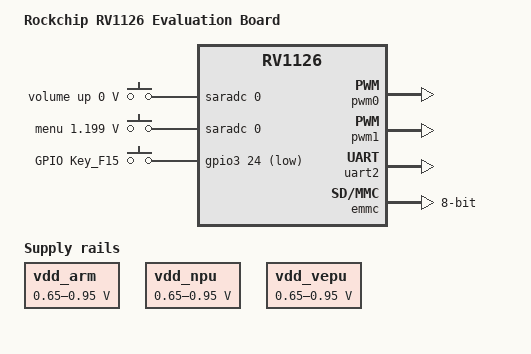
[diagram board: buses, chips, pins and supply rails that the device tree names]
// SPDX-License-Identifier: (GPL-2.0+ OR MIT)
/*
 * Copyright (c) 2020 Fuzhou Rockchip Electronics Co., Ltd.
 */

/dts-v1/;
#include "rv1126.dtsi"
#include "rv1126-u-boot.dtsi"
#include <dt-bindings/input/input.h>

/ {
	model = "Rockchip RV1126 Evaluation Board";
	compatible = "rockchip,rv1126-evb", "rockchip,rv1126";

	adc-keys {
		compatible = "adc-keys";
		io-channels = <&saradc 0>;
		io-channel-names = "buttons";
		keyup-threshold-microvolt = <1800000>;
		u-boot,dm-spl;
		status = "okay";

		volumeup-key {
			u-boot,dm-spl;
			linux,code = <KEY_VOLUMEUP>;
			label = "volume up";
			press-threshold-microvolt = <0>;
		};

		menu-key {
			u-boot,dm-spl;
			linux,code = <KEY_MENU>;
			label = "menu";
			press-threshold-microvolt = <1198828>;
		};
	};

	gpio-keys {
		compatible = "gpio-keys";
		#address-cells = <1>;
		#size-cells = <0>;
		u-boot,dm-spl;
		status = "okay";

		button@0 {
			gpio-key,wakeup = <1>;
			gpios = <&gpio3 24 GPIO_ACTIVE_LOW>;	
			label = "GPIO Key_F15";
			linux,code = <KEY_F15>;
			pinctrl-names = "default";
			pinctrl-0 = <&pwrbtn>;
			u-boot,dm-spl;
			status = "okay";
		};
	};

	vdd_arm: vdd-arm {
		compatible = "pwm-regulator";
		pwms = <&pwm0 0 5000 1>;
		regulator-name = "vdd_arm";
		regulator-min-microvolt = <650000>;
		regulator-max-microvolt = <950000>;
		regulator-init-microvolt = <800000>;
		regulator-always-on;
		regulator-boot-on;
		u-boot,dm-spl;
		status = "okay";
	};

	vdd_npu: vdd-npu {
		compatible = "pwm-regulator";
		pwms = <&pwm1 0 5000 1>;
		regulator-name = "vdd_npu";
		regulator-min-microvolt = <650000>;
		regulator-max-microvolt = <950000>;
		regulator-init-microvolt = <800000>;
		regulator-always-on;
		regulator-boot-on;
		u-boot,dm-spl;
		status = "okay";
	};

	vdd_vepu: vdd-vepu {
		compatible = "pwm-regulator";
		pwms = <&pwm1 0 5000 1>;
		regulator-name = "vdd_vepu";
		regulator-min-microvolt = <650000>;
		regulator-max-microvolt = <950000>;
		regulator-init-microvolt = <800000>;
		regulator-always-on;
		regulator-boot-on;
		u-boot,dm-spl;
		status = "okay";
	};
};

&cpu0 {
	cpu-supply = <&vdd_arm>;
	u-boot,dm-spl;
};

&pwm0 {
	status = "okay";
	pinctrl-names = "active";
	pinctrl-0 = <&pwm0m0_pins_pull_down>;
	u-boot,dm-spl;
};

&pwm1 {
	status = "okay";
	pinctrl-names = "active";
	pinctrl-0 = <&pwm1m0_pins_pull_down>;
	u-boot,dm-spl;
};

&uart2 {
	status = "okay";
};

&emmc {
	bus-width = <8>;
	mmc-hs200-1_8v;
	status = "okay";
};

&pinctrl {
	keys {
		pwrbtn: pwrbtn {
			rockchip,pins = <3 RK_PD0 RK_FUNC_GPIO &pcfg_pull_up>;
		};
	};
};
